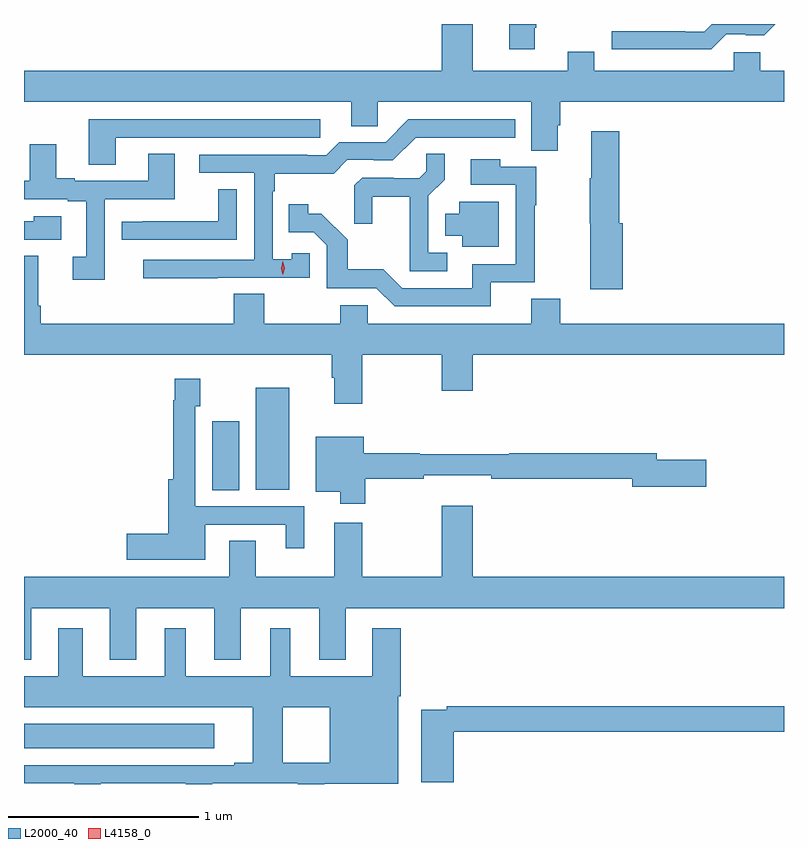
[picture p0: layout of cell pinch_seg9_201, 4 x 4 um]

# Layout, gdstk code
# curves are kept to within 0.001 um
import gdstk
lib = gdstk.Library(unit=1e-6, precision=1e-09)
def R(c, l, rs):  # rectangles x0, y0, x1, y1
    for r in rs: c.add(gdstk.rectangle(r[:2], r[2:], *l))
def P(c, l, *ps):  # polygons
    for p in ps: c.add(gdstk.Polygon(p, *l))
L2000_40 = (2000, 40)
L4158_0 = (4158, 0)

pinch_seg9_201 = lib.new_cell('pinch_seg9_201')
R(pinch_seg9_201, L2000_40, [(522.449,1238.306,523.45,1238.434), (523.439,1239.664,523.582,1240.027), (523.67,1239.668,523.846,1240.204)])
P(pinch_seg9_201, L2000_40, [(525.136,1242.097),(525.144,1242.097),(525.144,1242.118),(525.002,1242.118),(525.002,1241.985),(525.136,1241.985)],
  [(525.259,1241.586),(525.272,1241.586),(525.272,1241.708),(526.449,1241.708),(526.449,1241.872),(526.324,1241.872),(526.324,1241.97),(526.185,1241.97),(526.185,1241.872),(525.451,1241.872),(525.451,1241.971),(525.311,1241.971),(525.311,1241.872),(524.812,1241.872),(524.812,1242.118),(524.648,1242.118),(524.648,1241.872),(522.449,1241.872),(522.449,1241.708),(524.171,1241.708),(524.171,1241.581),(524.31,1241.581),(524.31,1241.708),(525.119,1241.708),(525.119,1241.452),(525.259,1241.452)],
  [(526.146,1242.063),(526.247,1242.063),(526.247,1242.06),(526.344,1242.06),(526.402,1242.118),(526.069,1242.118),(526.029,1242.078),(525.929,1242.078),(525.929,1242.081),(525.543,1242.081),(525.543,1241.985),(526.067,1241.984)],
  [(523.469,1240.782),(523.953,1240.782),(523.953,1240.911),(523.857,1240.911),(523.857,1240.879),(523.758,1240.879),(523.758,1241.237),(523.77,1241.237),(523.77,1241.33),(524.078,1241.33),(524.151,1241.403),(524.29,1241.403),(524.29,1241.4),(524.391,1241.4),(524.511,1241.52),(525.034,1241.52),(525.034,1241.616),(524.472,1241.616),(524.352,1241.496),(524.109,1241.496),(524.04,1241.427),(523.94,1241.427),(523.94,1241.43),(523.371,1241.43),(523.371,1241.334),(523.662,1241.334),(523.662,1240.878),(523.077,1240.878),(523.077,1240.78),(523.469,1240.78)],
  [(522.931,1241.52),(524.008,1241.52),(524.008,1241.616),(522.791,1241.616),(522.791,1241.377),(522.931,1241.377)],
  [(525.599,1241.07),(525.581,1241.07),(525.581,1241.554),(525.434,1241.554),(525.434,1241.306),(525.427,1241.306),(525.427,1241.07),(525.428,1241.07),(525.428,1240.722),(525.599,1240.722)],
  [(522.873,1241.196),(523.243,1241.196),(523.243,1241.435),(523.103,1241.435),(523.103,1241.292),(522.715,1241.292),(522.715,1241.305),(522.619,1241.305),(522.619,1241.485),(522.479,1241.485),(522.479,1241.292),(522.449,1241.292),(522.449,1241.196),(522.68,1241.196),(522.68,1241.184),(522.776,1241.184),(522.776,1240.893),(522.705,1240.893),(522.705,1240.773),(522.873,1240.773)],
  [(524.677,1240.914),(524.577,1240.914),(524.577,1241.213),(524.663,1241.299),(524.663,1241.435),(524.565,1241.435),(524.565,1241.344),(524.528,1241.307),(524.394,1241.307),(524.394,1241.31),(524.229,1241.31),(524.188,1241.269),(524.188,1241.067),(524.282,1241.067),(524.282,1241.21),(524.48,1241.21),(524.48,1240.818),(524.677,1240.818)],
  [(524.906,1240.758),(525.137,1240.758),(525.137,1241.164),(525.145,1241.164),(525.145,1241.367),(524.955,1241.367),(524.955,1241.407),(524.799,1241.407),(524.799,1241.271),(525.036,1241.271),(525.036,1240.854),(524.807,1240.854),(524.807,1240.728),(524.439,1240.728),(524.341,1240.827),(524.152,1240.827),(524.152,1240.982),(524.014,1241.12),(523.944,1241.12),(523.944,1241.17),(523.843,1241.17),(523.843,1241.022),(523.974,1241.022),(524.043,1240.953),(524.043,1240.728),(524.304,1240.728),(524.4,1240.632),(524.906,1240.632)],
  [(523.569,1241.249),(523.471,1241.249),(523.471,1241.079),(523.075,1241.079),(523.075,1241.078),(522.963,1241.078),(522.963,1240.983),(523.569,1240.983)],
  [(524.947,1241.182),(524.741,1241.182),(524.741,1241.119),(524.666,1241.119),(524.666,1241.003),(524.756,1241.003),(524.756,1240.946),(524.947,1240.946)],
  [(522.645,1241.107),(522.501,1241.107),(522.501,1241.079),(522.449,1241.079),(522.449,1240.983),(522.645,1240.983)],
  [(524.229,1240.376),(524.648,1240.376),(524.648,1240.188),(524.812,1240.188),(524.812,1240.376),(526.449,1240.376),(526.449,1240.54),(525.272,1240.54),(525.272,1240.673),(525.119,1240.673),(525.119,1240.54),(524.259,1240.54),(524.259,1240.638),(524.113,1240.638),(524.113,1240.54),(523.713,1240.54),(523.713,1240.697),(523.553,1240.697),(523.553,1240.54),(522.536,1240.54),(522.536,1240.636),(522.523,1240.636),(522.523,1240.897),(522.449,1240.897),(522.449,1240.376),(524.069,1240.376),(524.069,1240.256),(524.081,1240.256),(524.081,1240.119),(524.229,1240.119)],
  [(523.402,1239.483),(523.826,1239.483),(523.826,1239.36),(523.924,1239.36),(523.924,1239.579),(523.35,1239.579),(523.35,1240.107),(523.377,1240.107),(523.377,1240.252),(523.242,1240.252),(523.242,1240.139),(523.234,1240.139),(523.234,1239.721),(523.208,1239.721),(523.208,1239.434),(522.99,1239.434),(522.99,1239.299),(523.402,1239.299)],
  [(524.244,1239.724),(524.552,1239.724),(524.552,1239.743),(524.908,1239.743),(524.908,1239.724),(525.65,1239.724),(525.65,1239.682),(526.039,1239.682),(526.039,1239.824),(525.778,1239.824),(525.778,1239.86),(525.003,1239.86),(525.003,1239.853),(524.532,1239.853),(524.532,1239.86),(524.236,1239.86),(524.236,1239.946),(523.985,1239.946),(523.985,1239.656),(524.114,1239.656),(524.114,1239.594),(524.244,1239.594)],
  [(522.487,1239.044),(522.899,1239.044),(522.899,1238.771),(523.039,1238.771),(523.039,1239.044),(523.451,1239.044),(523.451,1238.771),(523.591,1238.771),(523.591,1239.044),(524.003,1239.044),(524.003,1238.771),(524.143,1238.771),(524.143,1239.044),(526.449,1239.044),(526.449,1239.208),(524.812,1239.208),(524.812,1239.583),(524.648,1239.583),(524.648,1239.208),(524.229,1239.208),(524.229,1239.493),(524.081,1239.493),(524.081,1239.208),(523.669,1239.208),(523.669,1239.398),(523.529,1239.398),(523.529,1239.208),(522.449,1239.208),(522.449,1238.771),(522.487,1238.771)],
  [(522.853,1238.121),(523.301,1238.121),(523.301,1238.118),(523.441,1238.118),(523.441,1238.121),(523.889,1238.121),(523.889,1238.118),(524.029,1238.118),(524.029,1238.12),(524.419,1238.12),(524.419,1238.579),(524.432,1238.579),(524.432,1238.938),(524.282,1238.938),(524.282,1238.686),(523.849,1238.686),(523.849,1238.938),(523.745,1238.938),(523.745,1238.686),(523.3,1238.686),(523.3,1238.938),(523.19,1238.938),(523.19,1238.686),(522.757,1238.686),(522.757,1238.938),(522.629,1238.938),(522.629,1238.686),(522.449,1238.686),(522.449,1238.522),(523.652,1238.522),(523.652,1238.23),(523.81,1238.23),(523.81,1238.522),(524.057,1238.522),(524.057,1238.23),(523.81,1238.23),(523.652,1238.23),(523.556,1238.23),(523.556,1238.217),(522.449,1238.217),(522.449,1238.121),(522.713,1238.121),(522.713,1238.118),(522.853,1238.118)],
  [(524.711,1238.392),(526.449,1238.392),(526.449,1238.528),(524.674,1238.528),(524.674,1238.508),(524.54,1238.508),(524.54,1238.127),(524.711,1238.127)])
P(pinch_seg9_201, L4158_0, [(523.811,1240.797),(523.811,1240.798),(523.802,1240.833),(523.811,1240.869),(523.811,1240.869),(523.812,1240.869),(523.821,1240.833),(523.812,1240.798)])

lib.write_gds('pinch_seg9_201.gds')
